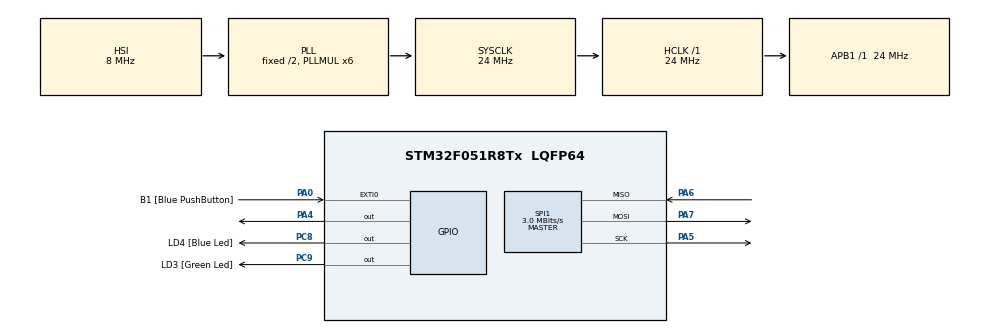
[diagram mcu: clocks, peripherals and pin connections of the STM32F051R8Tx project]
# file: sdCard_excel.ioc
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Mcu.Family=STM32F0
Mcu.Name=STM32F051R8Tx
Mcu.Package=LQFP64
PA0.GPIO_Label=B1 [Blue PushButton]
PA0.GPIO_ModeDefaultEXTI=GPIO_MODE_EVT_RISING
PA0.Signal=GPXTI0
PA13.GPIO_Label=SWDIO
PA13.Mode=Serial_Wire
PA13.Signal=SYS_SWDIO
PA14.GPIO_Label=SWCLK
PA14.Mode=Serial_Wire
PA14.Signal=SYS_SWCLK
PA4.Signal=GPIO_Output
PA5.Mode=Full_Duplex_Master
PA5.Signal=SPI1_SCK
PA6.Mode=Full_Duplex_Master
PA6.Signal=SPI1_MISO
PA7.Mode=Full_Duplex_Master
PA7.Signal=SPI1_MOSI
PC8.GPIO_Label=LD4 [Blue Led]
PC8.Signal=GPIO_Output
PC9.GPIO_Label=LD3 [Green Led]
PC9.Signal=GPIO_Output
ProjectManager.HeapSize=0x200
ProjectManager.StackSize=0x400
ProjectManager.TargetToolchain=STM32CubeIDE
RCC.AHBFreq_Value=24000000
RCC.APB1Freq_Value=24000000
RCC.APB1TimFreq_Value=24000000
RCC.HCLKFreq_Value=24000000
RCC.PLLMUL=RCC_PLL_MUL6
RCC.SYSCLKFreq_VALUE=24000000
RCC.SYSCLKSource=RCC_SYSCLKSOURCE_PLLCLK
SPI1.BaudRatePrescaler=SPI_BAUDRATEPRESCALER_8
SPI1.CalculateBaudRate=3.0 MBits/s
SPI1.DataSize=SPI_DATASIZE_8BIT
SPI1.Direction=SPI_DIRECTION_2LINES
SPI1.Mode=SPI_MODE_MASTER
SPI1.VirtualType=VM_MASTER
VP_FATFS_VS_Generic.Mode=User_defined
VP_RTC_VS_RTC_Activate.Mode=RTC_Enabled
VP_RTC_VS_RTC_Calendar.Mode=RTC_Calendar
board=STM32F0DISCOVERY

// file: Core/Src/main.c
/* USER CODE BEGIN Header */
/**
  ******************************************************************************
  * @file           : main.c
  * @brief          : Main program body
  ******************************************************************************
  * @attention
  *
  * Copyright (c) 2022 STMicroelectronics.
  * All rights reserved.
  *
  * This software is licensed under terms that can be found in the LICENSE file
  * in the root directory of this software component.
  * If no LICENSE file comes with this software, it is provided AS-IS.
  *
  ******************************************************************************
  */
/* USER CODE END Header */
#include "main.h"
#include "fatfs.h"

/* USER CODE BEGIN Includes */
#include "stdio.h"
#include "fatfs_sd.h"
#include "string.h"

/* USER CODE END Includes */

RTC_HandleTypeDef hrtc;

SPI_HandleTypeDef hspi1;

/* USER CODE BEGIN PV */

uint8_t dataWrite[10] = "1234567abc";
uint8_t time;
uint8_t date;
uint8_t data[2];
RTC_TimeTypeDef sTime;
 RTC_DateTypeDef sDate;
/* USER CODE END PV */

void SystemClock_Config(void);
static void MX_GPIO_Init(void);
static void MX_SPI1_Init(void);
static void MX_RTC_Init(void);

/* USER CODE BEGIN 0 */

FATFS fs;  // file system
FIL fil; // file
FRESULT fresult; // to store the result

UINT br, bw; // file read/write count

/* USER CODE END 0 */

int main(void)
{

  /* MCU Configuration--------------------------------------------------------*/

  /* Reset of all peripherals, Initializes the Flash interface and the Systick. */
  HAL_Init();

  /* Configure the system clock */
  SystemClock_Config();

  /* Initialize all configured peripherals */
  MX_GPIO_Init();
  MX_FATFS_Init();
  MX_SPI1_Init();
  MX_RTC_Init();
  /* USER CODE BEGIN 2 */

/*
  fresult = f_mount(&fs, "", 1);
  fresult = f_open(&fil, "file5.csv", FA_CREATE_ALWAYS | FA_WRITE | FA_READ);
  //fresult = f_write(&fil, "test1 ,test2 ,test3 \n", 25, &bw);
  fresult = f_write(&fil, ("Test1;Test2;Test3\nTest4;Test5;Test6"), 35, &bw); //create the item in the excel
  fresult = f_close(&fil);*/

  	  	  int i = 1;
  	  	  fresult = f_mount(&fs, "", 1);
  		  fresult = f_open(&fil, "Time.csv", FA_CREATE_ALWAYS | FA_WRITE | FA_READ);
  		  fresult = f_write(&fil, ("Time;Date\n"), 15, &bw); //create the item in the excel
  		  fresult = f_close(&fil);
  		  fresult = f_open(&fil, "Time.csv", FA_OPEN_ALWAYS | FA_WRITE | FA_READ);
  		  fresult = f_write(&fil, ("Time;Date\n"), 15, &bw); //create the item in the excel
  		  fresult = f_close(&fil);

  /* USER CODE END 2 */

  /* Infinite loop */
  /* USER CODE BEGIN WHILE */
  while (1)
  {
/*	  HAL_RTC_GetDate(&hrtc, &sDate, RTC_FORMAT_BIN);
	  HAL_RTC_GetTime(&hrtc, &sTime, RTC_FORMAT_BIN);
	  time = sTime.Seconds;
	  data[0] = time;
	  data[1] = "\n";
	  if (i==1){
		  fresult = f_open(&fil, "Time.csv", FA_OPEN_ALWAYS | FA_WRITE | FA_READ);
		  fresult = f_write(&fil, data, 2, &bw); //create the item in the excel
		  fresult = f_close(&fil);
	  }
	  else{
		  fresult = f_open(&fil, "Time.csv", FA_OPEN_ALWAYS | FA_WRITE | FA_READ);
		  fresult = f_write(&fil, data, 2, &bw); //create the item in the excel
		  fresult = f_close(&fil);

	  }
	  i++;
	  HAL_Delay(1000);*/
    /* USER CODE END WHILE */

  }
}

void SystemClock_Config(void)
{
  RCC_OscInitTypeDef RCC_OscInitStruct = {0};
  RCC_ClkInitTypeDef RCC_ClkInitStruct = {0};
  RCC_PeriphCLKInitTypeDef PeriphClkInit = {0};

  /** Initializes the RCC Oscillators according to the specified parameters
  * in the RCC_OscInitTypeDef structure.
  */
  RCC_OscInitStruct.OscillatorType = RCC_OSCILLATORTYPE_HSI|RCC_OSCILLATORTYPE_LSI;
  RCC_OscInitStruct.HSIState = RCC_HSI_ON;
  RCC_OscInitStruct.HSICalibrationValue = RCC_HSICALIBRATION_DEFAULT;
  RCC_OscInitStruct.LSIState = RCC_LSI_ON;
  RCC_OscInitStruct.PLL.PLLState = RCC_PLL_ON;
  RCC_OscInitStruct.PLL.PLLSource = RCC_PLLSOURCE_HSI;
  RCC_OscInitStruct.PLL.PLLMUL = RCC_PLL_MUL6;
  RCC_OscInitStruct.PLL.PREDIV = RCC_PREDIV_DIV1;
  if (HAL_RCC_OscConfig(&RCC_OscInitStruct) != HAL_OK)
  {
    Error_Handler();
  }

  /** Initializes the CPU, AHB and APB buses clocks
  */
  RCC_ClkInitStruct.ClockType = RCC_CLOCKTYPE_HCLK|RCC_CLOCKTYPE_SYSCLK
                              |RCC_CLOCKTYPE_PCLK1;
  RCC_ClkInitStruct.SYSCLKSource = RCC_SYSCLKSOURCE_PLLCLK;
  RCC_ClkInitStruct.AHBCLKDivider = RCC_SYSCLK_DIV1;
  RCC_ClkInitStruct.APB1CLKDivider = RCC_HCLK_DIV1;

  if (HAL_RCC_ClockConfig(&RCC_ClkInitStruct, FLASH_LATENCY_0) != HAL_OK)
  {
    Error_Handler();
  }
  PeriphClkInit.PeriphClockSelection = RCC_PERIPHCLK_RTC;
  PeriphClkInit.RTCClockSelection = RCC_RTCCLKSOURCE_LSI;
  if (HAL_RCCEx_PeriphCLKConfig(&PeriphClkInit) != HAL_OK)
  {
    Error_Handler();
  }
}

static void MX_RTC_Init(void)
{

  RTC_TimeTypeDef sTime = {0};
  RTC_DateTypeDef sDate = {0};

  /** Initialize RTC Only
  */
  hrtc.Instance = RTC;
  hrtc.Init.HourFormat = RTC_HOURFORMAT_24;
  hrtc.Init.AsynchPrediv = 127;
  hrtc.Init.SynchPrediv = 255;
  hrtc.Init.OutPut = RTC_OUTPUT_DISABLE;
  hrtc.Init.OutPutPolarity = RTC_OUTPUT_POLARITY_HIGH;
  hrtc.Init.OutPutType = RTC_OUTPUT_TYPE_OPENDRAIN;
  if (HAL_RTC_Init(&hrtc) != HAL_OK)
  {
    Error_Handler();
  }

  /** Initialize RTC and set the Time and Date
  */
  sTime.Hours = 0x0;
  sTime.Minutes = 0x0;
  sTime.Seconds = 0x0;
  sTime.DayLightSaving = RTC_DAYLIGHTSAVING_NONE;
  sTime.StoreOperation = RTC_STOREOPERATION_RESET;
  if (HAL_RTC_SetTime(&hrtc, &sTime, RTC_FORMAT_BCD) != HAL_OK)
  {
    Error_Handler();
  }
  sDate.WeekDay = RTC_WEEKDAY_MONDAY;
  sDate.Month = RTC_MONTH_JANUARY;
  sDate.Date = 0x1;
  sDate.Year = 0x0;

  if (HAL_RTC_SetDate(&hrtc, &sDate, RTC_FORMAT_BCD) != HAL_OK)
  {
    Error_Handler();
  }

}

static void MX_SPI1_Init(void)
{

  /* SPI1 parameter configuration*/
  hspi1.Instance = SPI1;
  hspi1.Init.Mode = SPI_MODE_MASTER;
  hspi1.Init.Direction = SPI_DIRECTION_2LINES;
  hspi1.Init.DataSize = SPI_DATASIZE_8BIT;
  hspi1.Init.CLKPolarity = SPI_POLARITY_LOW;
  hspi1.Init.CLKPhase = SPI_PHASE_1EDGE;
  hspi1.Init.NSS = SPI_NSS_SOFT;
  hspi1.Init.BaudRatePrescaler = SPI_BAUDRATEPRESCALER_8;
  hspi1.Init.FirstBit = SPI_FIRSTBIT_MSB;
  hspi1.Init.TIMode = SPI_TIMODE_DISABLE;
  hspi1.Init.CRCCalculation = SPI_CRCCALCULATION_DISABLE;
  hspi1.Init.CRCPolynomial = 7;
  hspi1.Init.CRCLength = SPI_CRC_LENGTH_DATASIZE;
  hspi1.Init.NSSPMode = SPI_NSS_PULSE_ENABLE;
  if (HAL_SPI_Init(&hspi1) != HAL_OK)
  {
    Error_Handler();
  }

}

static void MX_GPIO_Init(void)
{
  GPIO_InitTypeDef GPIO_InitStruct = {0};

  /* GPIO Ports Clock Enable */
  __HAL_RCC_GPIOA_CLK_ENABLE();
  __HAL_RCC_GPIOC_CLK_ENABLE();

  /*Configure GPIO pin Output Level */
  HAL_GPIO_WritePin(GPIOA, GPIO_PIN_4, GPIO_PIN_RESET);

  /*Configure GPIO pin Output Level */
  HAL_GPIO_WritePin(GPIOC, LD4_Pin|LD3_Pin, GPIO_PIN_RESET);

  /*Configure GPIO pin : B1_Pin */
  GPIO_InitStruct.Pin = B1_Pin;
  GPIO_InitStruct.Mode = GPIO_MODE_EVT_RISING;
  GPIO_InitStruct.Pull = GPIO_NOPULL;
  HAL_GPIO_Init(B1_GPIO_Port, &GPIO_InitStruct);

  /*Configure GPIO pin : PA4 */
  GPIO_InitStruct.Pin = GPIO_PIN_4;
  GPIO_InitStruct.Mode = GPIO_MODE_OUTPUT_PP;
  GPIO_InitStruct.Pull = GPIO_NOPULL;
  GPIO_InitStruct.Speed = GPIO_SPEED_FREQ_LOW;
  HAL_GPIO_Init(GPIOA, &GPIO_InitStruct);

  /*Configure GPIO pins : LD4_Pin LD3_Pin */
  GPIO_InitStruct.Pin = LD4_Pin|LD3_Pin;
  GPIO_InitStruct.Mode = GPIO_MODE_OUTPUT_PP;
  GPIO_InitStruct.Pull = GPIO_NOPULL;
  GPIO_InitStruct.Speed = GPIO_SPEED_FREQ_LOW;
  HAL_GPIO_Init(GPIOC, &GPIO_InitStruct);

}

void Error_Handler(void)
{
  __disable_irq();
  while (1)
  {
  }
}
